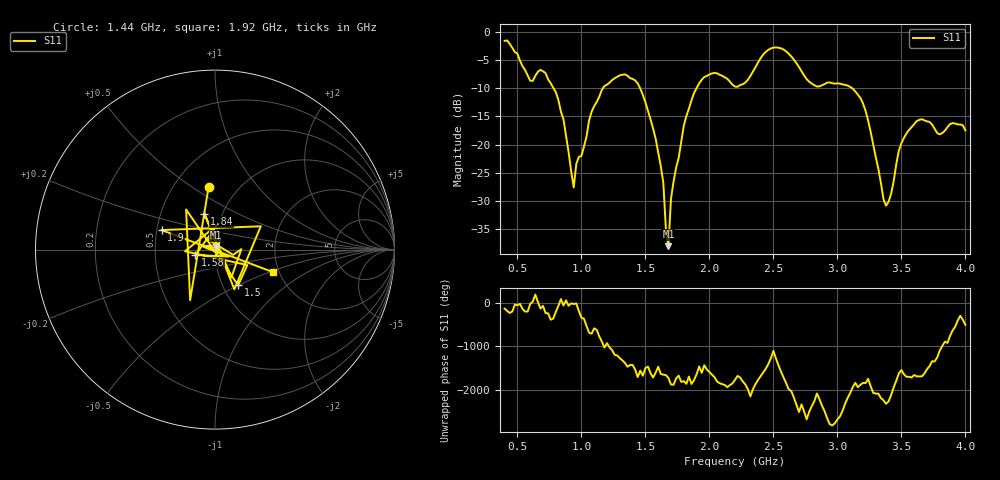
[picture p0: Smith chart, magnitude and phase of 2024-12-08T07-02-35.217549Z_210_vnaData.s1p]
!Created with skrf (http://scikit-rf.org).
# Hz S RI R 50.0
!freq ReS11 ImS11
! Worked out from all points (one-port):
!   181 points, 400 MHz to 4 GHz, reference 50 ohm
!   lowest |S11| = -38.0 dB at 1.68 GHz (marker M1), VSWR 1.03, Z = 50.3 + j1.22 ohm
!   |S11| at or under -10 dB: 781.8 MHz to 1.169 GHz (386.7 MHz wide, 39.7 % of centre); 1.459 GHz to 1.899 GHz (440.6 MHz wide, 26.2 % of centre); 3.114 GHz to end of sweep
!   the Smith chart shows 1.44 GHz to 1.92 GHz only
!   S11 on the Smith chart (normalised r, x): 1.44 GHz: 0.74, +0.58; 1.5 GHz: 1.18, -0.50; 1.58 GHz: 0.80, -0.05; 1.84 GHz: 0.82, +0.34; 1.9 GHz: 0.53, +0.13; 1.92 GHz: 1.86, -0.54
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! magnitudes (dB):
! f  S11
! 400 MHz  -1.6
! 600 MHz  -8.7
! 720 MHz  -7.3
! 860 MHz  -15.5
! 940 MHz  -27.6
! 1.08 GHz  -14.2
! 1.3 GHz  -7.7
! 1.44 GHz  -9.2
! 1.5 GHz  -12.5
! 1.58 GHz  -18.9
! 1.64 GHz  -26.8
! 1.66 GHz  -34.9
! 1.68 GHz  -38.0
! 1.7 GHz  -29.6
! 1.76 GHz  -22.4
! 1.84 GHz  -13.6
! 1.9 GHz  -10.0
! 1.92 GHz  -9.1
! 2.2 GHz  -9.7
! 2.48 GHz  -3.0
! 2.66 GHz  -4.9
! 2.84 GHz  -9.7
! 3.1 GHz  -9.8
! 3.22 GHz  -14.0
! 3.38 GHz  -30.8
! 3.48 GHz  -21.1
! 3.56 GHz  -17.4
! 4 GHz  -17.5
